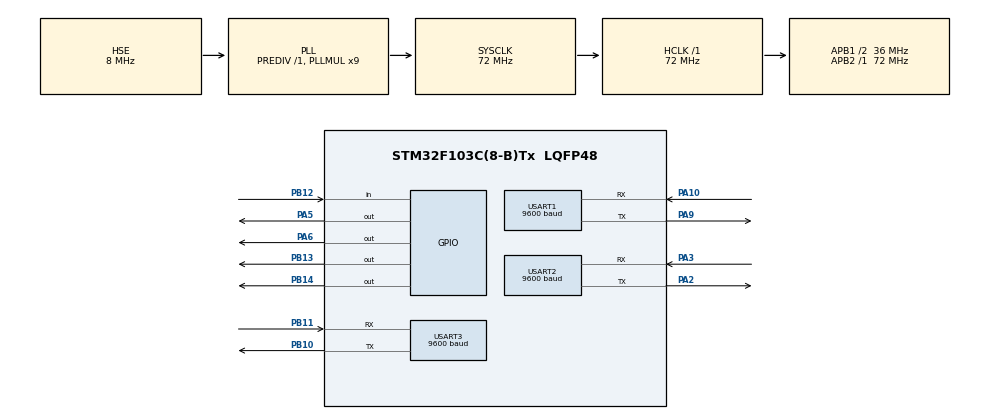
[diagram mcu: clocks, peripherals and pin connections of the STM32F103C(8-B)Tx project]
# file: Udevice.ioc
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Mcu.Family=STM32F1
Mcu.Name=STM32F103C(8-B)Tx
Mcu.Package=LQFP48
NVIC.PriorityGroup=NVIC_PRIORITYGROUP_4
NVIC.TIM1_UP_IRQn=true\:0\:0\:false\:false\:true\:true\:true
NVIC.USART1_IRQn=true\:0\:0\:false\:false\:true\:true\:true
NVIC.USART2_IRQn=true\:0\:0\:false\:false\:true\:true\:true
NVIC.USART3_IRQn=true\:0\:0\:false\:false\:true\:true\:true
PA10.Mode=Asynchronous
PA10.Signal=USART1_RX
PA2.Mode=Asynchronous
PA2.Signal=USART2_TX
PA3.Mode=Asynchronous
PA3.Signal=USART2_RX
PA5.Signal=GPIO_Output
PA6.Signal=GPIO_Output
PA9.Mode=Asynchronous
PA9.Signal=USART1_TX
PB10.Mode=Asynchronous
PB10.Signal=USART3_TX
PB11.Mode=Asynchronous
PB11.Signal=USART3_RX
PB12.GPIO_PuPd=GPIO_PULLUP
PB12.Signal=GPIO_Input
PB13.Signal=GPIO_Output
PB14.Signal=GPIO_Output
PD0-OSC_IN.Mode=HSE-External-Oscillator
PD0-OSC_IN.Signal=RCC_OSC_IN
PD1-OSC_OUT.Mode=HSE-External-Oscillator
PD1-OSC_OUT.Signal=RCC_OSC_OUT
ProjectManager.HeapSize=0x200
ProjectManager.StackSize=0x400
ProjectManager.TargetToolchain=STM32CubeIDE
RCC.AHBFreq_Value=72000000
RCC.APB1CLKDivider=RCC_HCLK_DIV2
RCC.APB1Freq_Value=36000000
RCC.APB1TimFreq_Value=72000000
RCC.APB2Freq_Value=72000000
RCC.APB2TimFreq_Value=72000000
RCC.HCLKFreq_Value=72000000
RCC.PLLMUL=RCC_PLL_MUL9
RCC.PLLSourceVirtual=RCC_PLLSOURCE_HSE
RCC.SYSCLKFreq_VALUE=72000000
RCC.SYSCLKSource=RCC_SYSCLKSOURCE_PLLCLK
RCC.USBFreq_Value=72000000
TIM1.Period=99
TIM1.Prescaler=719
TIM1.RepetitionCounter=0
USART1.BaudRate=9600
USART1.VirtualMode=VM_ASYNC
USART2.BaudRate=9600
USART2.VirtualMode=VM_ASYNC
USART3.BaudRate=9600
USART3.VirtualMode=VM_ASYNC
VP_SYS_VS_ND.Mode=No_Debug
VP_TIM1_VS_ClockSourceINT.Mode=Internal
board=custom

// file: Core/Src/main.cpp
/* USER CODE BEGIN Header */
/**
  ******************************************************************************
  * @file           : main.c
  * @brief          : Main program body
  ******************************************************************************
  * @attention
  *
  * <h2><center>&copy; Copyright (c) 2021 STMicroelectronics.
  * All rights reserved.</center></h2>
  *
  * This software component is licensed by ST under BSD 3-Clause license,
  * the "License"; You may not use this file except in compliance with the
  * License. You may obtain a copy of the License at:
  *                        opensource.org/licenses/BSD-3-Clause
  *
  ******************************************************************************
  */
/* USER CODE END Header */
#include "main.h"
#include <string>

UART_HandleTypeDef huart1;
UART_HandleTypeDef huart2;
UART_HandleTypeDef huart3;

/* USER CODE BEGIN PV */
TIM_HandleTypeDef htim1;
/* USER CODE END PV */

void SystemClock_Config(void);
static void MX_GPIO_Init(void);
static void MX_TIM1_Init(void);
static void MX_USART1_UART_Init(void);
static void MX_USART2_UART_Init(void);
static void MX_USART3_UART_Init(void);

/* USER CODE BEGIN 0 */
#include "../../Libraries/Debounce/Debounce.h"
#include "../../Libraries/Wire/Wire.h"

#define TAP_TIME_INTERVAL 400

Debounce moduleButton(GPIOB, 1 << 12, 10);

uint8_t hasErrors = 0;
uint8_t wireIsFixed = 0;

uint8_t oneTap = 0;
uint8_t doubleTap = 0;
uint8_t tripleTap = 0;
uint8_t qTap = 0;

volatile uint32_t timer = 0;
volatile uint32_t sendTimer = 0;

uint8_t uId1 [] = "7\0";
uint8_t uId2 [] = "8\0";
uint8_t uId3 [] = "9\0";

extern uint8_t PORT_ID_1;
extern uint8_t PORT_ID_2;
extern uint8_t PORT_ID_3;

Wire wireA(PORT_ID_1);
Wire wireB(PORT_ID_2);
Wire wireC(PORT_ID_3);

/* USER CODE END 0 */

int main(void)
{

  /* MCU Configuration--------------------------------------------------------*/

  /* Reset of all peripherals, Initializes the Flash interface and the Systick. */
  HAL_Init();

  /* Configure the system clock */
  SystemClock_Config();

  /* Initialize all configured peripherals */
  MX_GPIO_Init();
  MX_TIM1_Init();
  MX_USART1_UART_Init();
  MX_USART2_UART_Init();
  MX_USART3_UART_Init();
  /* USER CODE BEGIN 2 */

  HAL_TIM_Base_Start_IT(&htim1);

  uint8_t receivedUartId1;
  uint8_t receivedUartId2;
  uint8_t receivedUartId3;

  /* USER CODE END 2 */
  /* Infinite loop */
  /* USER CODE BEGIN WHILE */
  while (1)
  {
		if( HAL_UART_Receive_IT(&huart1, &receivedUartId1, 1) == HAL_OK) {
			wireA.setPort(receivedUartId1);
		}

		if( HAL_UART_Receive_IT(&huart2, &receivedUartId2, 1) == HAL_OK) {
			wireB.setPort(receivedUartId2);
		}

		if( HAL_UART_Receive_IT(&huart3, &receivedUartId3, 1) == HAL_OK) {
			wireC.setPort(receivedUartId3);
		}

      /* USER CODE END WHILE */

  	  // Button Module
	  if (timer > TAP_TIME_INTERVAL) {
		  timer = 0;

		  if (oneTap != 0) {
			 if (wireIsFixed == 0 && ((doubleTap != 0 && hasErrors == 0 && tripleTap == 0) || (tripleTap != 0 && hasErrors != 0 && qTap == 0))) {
				  HAL_GPIO_WritePin(GPIOB, GPIO_PIN_13, GPIO_PIN_SET);
			  } else {
				  hasErrors = 1;
				  HAL_GPIO_WritePin(GPIOB, GPIO_PIN_13, GPIO_PIN_RESET);
				  HAL_GPIO_WritePin(GPIOB, GPIO_PIN_14, GPIO_PIN_SET);
			  }
		  }

		  oneTap = 0;
		  doubleTap = 0;
		  tripleTap = 0;
		  qTap = 0;
	  }

	  if (moduleButton.readFlagFalling() != 0 && moduleButton.readFlagRising() != 0) {
		  timer = 0;

		  if (oneTap == 0) {
			  oneTap = 1;
		  } else {
			  if (doubleTap == 0) {
				  doubleTap = 1;
			  } else {
				  if (tripleTap == 0) {
					  tripleTap = 1;
				  } else {
					  qTap = 1;
				  }
			  }
		  }
	  }
	  // /Button module

	  // Wires module
	  if (sendTimer > 100) {
		   sendTimer = 0;

		  HAL_UART_Transmit_IT(&huart1, uId1, 1);
		  HAL_UART_Transmit_IT(&huart2, uId2, 1);
		  HAL_UART_Transmit_IT(&huart3, uId3, 1);
	  }

	  if (wireA.isInited() && wireB.isInited() && wireC.isInited()) {
		if (wireA.necessaryPortIsSet() == 0 || wireB.necessaryPortIsSet() == 0 || wireC.necessaryPortIsSet() == 0) {
			if (wireA.getCurrentPort() != PORT_ID_1 && wireB.getCurrentPort() != PORT_ID_2 && wireC.getCurrentPort() != PORT_ID_3) {

				wireA.setNecessaryPort(PORT_ID_3);
				wireB.setNecessaryPort(PORT_ID_2);
				wireC.setNecessaryPort(PORT_ID_1);

			} else if (wireB.getCurrentPort() == PORT_ID_2) {
				wireB.setNecessaryPort(PORT_ID_3);

				if (wireA.getCurrentPort() == PORT_ID_3) {
					wireA.setNecessaryPort(PORT_ID_2);
					wireC.setNecessaryPort(PORT_ID_1);
				} else {
					wireC.setNecessaryPort(PORT_ID_2);
					wireA.setNecessaryPort(PORT_ID_1);
				}
			} else if (
					(wireA.getCurrentPort() == PORT_ID_2 && wireC.getCurrentPort() == PORT_ID_3) ||
					(wireA.getCurrentPort() == PORT_ID_1 && wireC.getCurrentPort() == PORT_ID_2)) {

				wireA.setNecessaryPort(wireC.getCurrentPort());
				wireC.setNecessaryPort(wireA.getCurrentPort());

				if (wireC.getCurrentPort() == PORT_ID_3) {
					wireB.setNecessaryPort(PORT_ID_1);
				} else {
					wireB.setNecessaryPort(PORT_ID_3);
				}
			}
		} else {
			if (wireA.isRightConnection() && wireB.isRightConnection() && wireC.isRightConnection()) {

				wireIsFixed = 1;
				HAL_GPIO_WritePin(GPIOA, GPIO_PIN_5, GPIO_PIN_SET);

			} else if (
					(wireA.portIsChanged() && wireA.hasMistake()) ||
					(wireB.portIsChanged() && wireB.hasMistake()) ||
					(wireC.portIsChanged() && wireC.hasMistake())) {
				hasErrors = 1;
				HAL_GPIO_WritePin(GPIOA, GPIO_PIN_5, GPIO_PIN_RESET);
				HAL_GPIO_WritePin(GPIOA, GPIO_PIN_6, GPIO_PIN_SET);
			}
		}
	  }
	  // / Wires module

  }
}

void SystemClock_Config(void)
{
  RCC_OscInitTypeDef RCC_OscInitStruct = {0};
  RCC_ClkInitTypeDef RCC_ClkInitStruct = {0};

  /** Initializes the RCC Oscillators according to the specified parameters
  * in the RCC_OscInitTypeDef structure.
  */
  RCC_OscInitStruct.OscillatorType = RCC_OSCILLATORTYPE_HSE;
  RCC_OscInitStruct.HSEState = RCC_HSE_ON;
  RCC_OscInitStruct.HSEPredivValue = RCC_HSE_PREDIV_DIV1;
  RCC_OscInitStruct.HSIState = RCC_HSI_ON;
  RCC_OscInitStruct.PLL.PLLState = RCC_PLL_ON;
  RCC_OscInitStruct.PLL.PLLSource = RCC_PLLSOURCE_HSE;
  RCC_OscInitStruct.PLL.PLLMUL = RCC_PLL_MUL9;
  if (HAL_RCC_OscConfig(&RCC_OscInitStruct) != HAL_OK)
  {
    Error_Handler();
  }
  /** Initializes the CPU, AHB and APB buses clocks
  */
  RCC_ClkInitStruct.ClockType = RCC_CLOCKTYPE_HCLK|RCC_CLOCKTYPE_SYSCLK
                              |RCC_CLOCKTYPE_PCLK1|RCC_CLOCKTYPE_PCLK2;
  RCC_ClkInitStruct.SYSCLKSource = RCC_SYSCLKSOURCE_PLLCLK;
  RCC_ClkInitStruct.AHBCLKDivider = RCC_SYSCLK_DIV1;
  RCC_ClkInitStruct.APB1CLKDivider = RCC_HCLK_DIV2;
  RCC_ClkInitStruct.APB2CLKDivider = RCC_HCLK_DIV1;

  if (HAL_RCC_ClockConfig(&RCC_ClkInitStruct, FLASH_LATENCY_2) != HAL_OK)
  {
    Error_Handler();
  }
}

static void MX_TIM1_Init(void)
{

  TIM_ClockConfigTypeDef sClockSourceConfig = {0};
  TIM_MasterConfigTypeDef sMasterConfig = {0};

  htim1.Instance = TIM1;
  htim1.Init.Prescaler = 719;
  htim1.Init.CounterMode = TIM_COUNTERMODE_UP;
  htim1.Init.Period = 100;
  htim1.Init.ClockDivision = TIM_CLOCKDIVISION_DIV1;
  htim1.Init.RepetitionCounter = 0;
  htim1.Init.AutoReloadPreload = TIM_AUTORELOAD_PRELOAD_DISABLE;
  if (HAL_TIM_Base_Init(&htim1) != HAL_OK)
  {
    Error_Handler();
  }
  sClockSourceConfig.ClockSource = TIM_CLOCKSOURCE_INTERNAL;
  if (HAL_TIM_ConfigClockSource(&htim1, &sClockSourceConfig) != HAL_OK)
  {
    Error_Handler();
  }
  sMasterConfig.MasterOutputTrigger = TIM_TRGO_RESET;
  sMasterConfig.MasterSlaveMode = TIM_MASTERSLAVEMODE_DISABLE;
  if (HAL_TIMEx_MasterConfigSynchronization(&htim1, &sMasterConfig) != HAL_OK)
  {
    Error_Handler();
  }

}

static void MX_USART1_UART_Init(void)
{

  huart1.Instance = USART1;
  huart1.Init.BaudRate = 9600;
  huart1.Init.WordLength = UART_WORDLENGTH_8B;
  huart1.Init.StopBits = UART_STOPBITS_1;
  huart1.Init.Parity = UART_PARITY_NONE;
  huart1.Init.Mode = UART_MODE_TX_RX;
  huart1.Init.HwFlowCtl = UART_HWCONTROL_NONE;
  huart1.Init.OverSampling = UART_OVERSAMPLING_16;
  if (HAL_UART_Init(&huart1) != HAL_OK)
  {
    Error_Handler();
  }

}

static void MX_USART2_UART_Init(void)
{

  huart2.Instance = USART2;
  huart2.Init.BaudRate = 9600;
  huart2.Init.WordLength = UART_WORDLENGTH_8B;
  huart2.Init.StopBits = UART_STOPBITS_1;
  huart2.Init.Parity = UART_PARITY_NONE;
  huart2.Init.Mode = UART_MODE_TX_RX;
  huart2.Init.HwFlowCtl = UART_HWCONTROL_NONE;
  huart2.Init.OverSampling = UART_OVERSAMPLING_16;
  if (HAL_UART_Init(&huart2) != HAL_OK)
  {
    Error_Handler();
  }

}

static void MX_USART3_UART_Init(void)
{

  huart3.Instance = USART3;
  huart3.Init.BaudRate = 9600;
  huart3.Init.WordLength = UART_WORDLENGTH_8B;
  huart3.Init.StopBits = UART_STOPBITS_1;
  huart3.Init.Parity = UART_PARITY_NONE;
  huart3.Init.Mode = UART_MODE_TX_RX;
  huart3.Init.HwFlowCtl = UART_HWCONTROL_NONE;
  huart3.Init.OverSampling = UART_OVERSAMPLING_16;
  if (HAL_UART_Init(&huart3) != HAL_OK)
  {
    Error_Handler();
  }

}

static void MX_GPIO_Init(void)
{
  GPIO_InitTypeDef GPIO_InitStruct = {0};

  /* GPIO Ports Clock Enable */
  __HAL_RCC_GPIOD_CLK_ENABLE();
  __HAL_RCC_GPIOA_CLK_ENABLE();
  __HAL_RCC_GPIOB_CLK_ENABLE();

  /*Configure GPIO pin Output Level */
  HAL_GPIO_WritePin(GPIOA, GPIO_PIN_5|GPIO_PIN_6, GPIO_PIN_RESET);

  /*Configure GPIO pin Output Level */
  HAL_GPIO_WritePin(GPIOB, GPIO_PIN_13|GPIO_PIN_14, GPIO_PIN_RESET);

  /*Configure GPIO pins : PA5 PA6 */
  GPIO_InitStruct.Pin = GPIO_PIN_5|GPIO_PIN_6;
  GPIO_InitStruct.Mode = GPIO_MODE_OUTPUT_PP;
  GPIO_InitStruct.Pull = GPIO_NOPULL;
  GPIO_InitStruct.Speed = GPIO_SPEED_FREQ_LOW;
  HAL_GPIO_Init(GPIOA, &GPIO_InitStruct);

  /*Configure GPIO pin : PB12 */
  GPIO_InitStruct.Pin = GPIO_PIN_12;
  GPIO_InitStruct.Mode = GPIO_MODE_INPUT;
  GPIO_InitStruct.Pull = GPIO_PULLUP;
  HAL_GPIO_Init(GPIOB, &GPIO_InitStruct);

  /*Configure GPIO pins : PB13 PB14 */
  GPIO_InitStruct.Pin = GPIO_PIN_13|GPIO_PIN_14;
  GPIO_InitStruct.Mode = GPIO_MODE_OUTPUT_PP;
  GPIO_InitStruct.Pull = GPIO_NOPULL;
  GPIO_InitStruct.Speed = GPIO_SPEED_FREQ_LOW;
  HAL_GPIO_Init(GPIOB, &GPIO_InitStruct);

}

void Error_Handler(void)
{
  __disable_irq();
  while (1)
  {
  }
}

/************************ (C) COPYRIGHT STMicroelectronics *****END OF FILE****/
